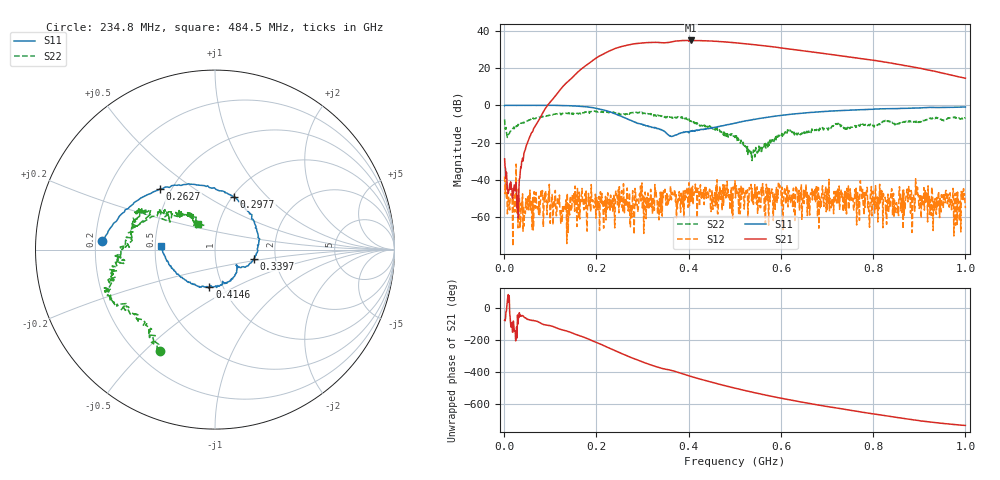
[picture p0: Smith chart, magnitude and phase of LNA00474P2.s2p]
! Created with skrf 1.9.0 (http://scikit-rf.org).
# Hz S RI R 50.0
!freq ReS11 ImS11 ReS21 ImS21 ReS12 ImS12 ReS22 ImS22
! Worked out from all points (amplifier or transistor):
!   1001 points, 1 MHz to 1 GHz, reference 50 ohm
!   highest |S21| = 34.8 dB at 404.6 MHz (marker M1)
!   |S21| within 3 dB of that: 259.1 MHz to 568.5 MHz (309.4 MHz wide, 74.8 % of centre)
!   unconditionally stable (mu >= 1): 16.04 MHz to 57.42 MHz; 298.9 MHz to 892 MHz; 892.2 MHz to end of sweep (the widest 3 of 31)
!   at 166.8 MHz: K = 0.62, MSG = 34.2 dB, |S12| = -49.1 dB
!   at 500.5 MHz: K = 1.21, MAG = 34.3 dB, |S12| = -40.5 dB
!   at 1 GHz: K = 8.12, MAG = 22.8 dB, |S12| = -55.2 dB
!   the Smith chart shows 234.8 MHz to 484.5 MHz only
!   S11 on the Smith chart (normalised r, x): 234.8 MHz: 0.23, +0.04; 262.7 MHz: 0.43, +0.37; 297.7 MHz: 1.02, +0.66; 339.7 MHz: 1.54, -0.16; 414.6 MHz: 0.86, -0.38; 484.5 MHz: 0.54, +0.03
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1000000  0.9804 0.00389  0.00871 -0.0356  -0.0116 -0.00432  0.3231 0.2704
1.08892e8  0.5227 -0.8474  -0.7981 -1.452  0.00259 0.000499  0.4275 -0.3901
1.67833e8  -0.2303 -0.9034  -9.525 -0.5089  -0.00216 -0.00368  0.0128 -0.64
2.06794e8  -0.6668 -0.4328  -15.35 14.46  -1.01e-05 0.000437  -0.1946 -0.6429
2.34766e8  -0.628 0.0499  -5.832 30.72  0.000983 0.00294  -0.3081 -0.566
2.62738e8  -0.306 0.3388  16.49 36.17  -0.00127 0.00157  -0.4226 -0.3643
2.97703e8  0.1071 0.2937  42.14 19.93  -0.00236 0.00241  -0.5915 -0.2211
3.17683e8  0.2201 0.1466  48.33 3.837  -0.00557 -0.000201  -0.5892 -0.1107
3.34666e8  0.2348 -0.0173  47.45 -9.811  0.00172 0.00183  -0.5255 -0.0466
3.39661e8  0.2163 -0.0505  46.13 -13.01  -0.00104 -0.00083  -0.5285 0.0143
3.72628e8  0.1258 -0.102  41.39 -32.97  -0.00122 0.00382  -0.4532 0.1618
4.04596e8  0.0306 -0.1971  20.67 -50.83  -6.97e-05 0.00263  -0.3271 0.2044
4.14586e8  -0.0315 -0.2078  12.99 -52.9  0.00669 0.00379  -0.2496 0.1539
4.45555e8  -0.1825 -0.155  -10.07 -52.06  0.00548 0.00124  -0.1884 0.2099
4.84516e8  -0.3019 0.0226  -31.99 -37.99  0.00326 0.00259  -0.0952 0.141
5.005e8  -0.3087 0.1229  -37.44 -29.56  0.00811 -0.00489  -0.1047 0.0877
5.4046e8  -0.2463 0.3384  -41.55 -8.586  0.00175 0.00135  -0.0625 0.00465
5.88412e8  -0.0415 0.512  -34.48 11.22  0.00118 -0.00368  -0.113 -0.0843
6.67333e8  0.3452 0.5488  -13.14 23.34  -0.00111 -0.00561  -0.2215 -0.0692
7.53247e8  0.6472 0.3698  3.809 18.99  -0.0028 -0.00182  -0.2557 -0.0207
8.34166e8  0.7982 0.127  10.2 9.376  0.000967 -0.00162  -0.3667 -0.0284
1e9  0.802 -0.4105  5.137 -1.408  -0.000573 -0.00165  -0.3701 0.2858
